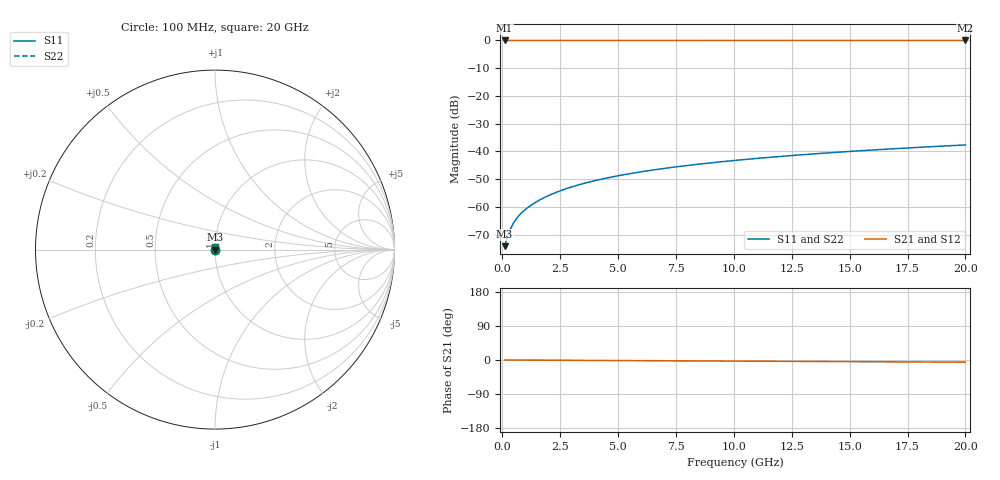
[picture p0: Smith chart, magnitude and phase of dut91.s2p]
! Touchstone file exported from HFSS 2026.1.0
!  File:  C:/ffzhzh/LocalFiles/Ansys_Project_Files/temp_train_TSV_91_1782959697_45748.aedt
!  Generated:  10:36:35 AM Jul  2, 2026
!  Design:  TSV
!  Project:  temp_train_TSV_91_1782959697_45748
! Variables:
!  h_bsmrdl = 2um
!  h_ox = 20um
!  h_rdl = 5um
!  h_sub = 55.9um
!  h_tmrdl = 5um
!  h_tsv = 55.9um
!  h_via = 3um
!  l_bsmrdl = 300um
!  l_sub = 414.04um
!  l_tmrdl = 200um
!  m_sub = 200um
!  pitch = 32.89um
!  r_tsv = 7.02um
!  s_tmrdl = 10um
!  w_bsmrdl = 18um
!  w_sub = 500um
!  w_tmrdl = 12um
!  x_tsv_center1 = 206um
!  x_tsv_center2 = 524um
!  x_tsv_center3 = 736um
!  x_tsv_center4 = 1054um
!  x_tsv_center5 = 1266um
!  x_tsv_center6 = 1584um
# GHz S MA R 50.000000
! Terminal data exported
! Port[1] = TSV1_1_T1
! Port[2] = TSV1_1_T2
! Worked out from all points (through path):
!   200 points, 100 MHz to 20 GHz, reference 50 ohm
!   highest |S21| = 0.00 dB at 100 MHz (marker M1); lowest = 0.0 dB at 20 GHz (marker M2)
!   lowest |S11| = -74.1 dB at 100 MHz (marker M3), VSWR 1.00, Z = 50 + j0.0102 ohm
!   |S11| at or under -10 dB: start of sweep to end of sweep
!   |S22| runs from -74.1 to -37.6 dB; largest |S21 - S12| = 3e-15
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0.1  0.0001971 31.3  0.9998 -0.0  0.9998 -0.0  0.0001971 31.3
! Gamma 0 0 0 0
! Port Impedance 50 0 50 0
0.2  0.00027 48.4  0.9998 -0.1  0.9998 -0.1  0.00027 48.4
0.3  0.0003553 56.7  0.9998 -0.1  0.9998 -0.1  0.0003553 56.7
0.4  0.0004419 61.1  0.9998 -0.1  0.9998 -0.1  0.0004419 61.1
0.5  0.0005261 63.7  0.9998 -0.2  0.9998 -0.2  0.0005261 63.7
0.6  0.000607 65.4  0.9997 -0.2  0.9997 -0.2  0.000607 65.4
0.7  0.000685 66.7  0.9997 -0.2  0.9997 -0.2  0.000685 66.7
0.8  0.0007605 67.7  0.9997 -0.2  0.9997 -0.2  0.0007605 67.7
1  0.0009065 69.5  0.9997 -0.3  0.9997 -0.3  0.0009065 69.5
1.4  0.001189 72.1  0.9996 -0.4  0.9996 -0.4  0.001189 72.1
1.7  0.001399 73.6  0.9996 -0.5  0.9996 -0.5  0.001399 73.6
2  0.001609 74.8  0.9996 -0.6  0.9996 -0.6  0.001609 74.8
2.7  0.002096 76.5  0.9995 -0.8  0.9995 -0.8  0.002096 76.5
3.5  0.002647 77.7  0.9995 -1.0  0.9995 -1.0  0.002647 77.7
4.2  0.003122 78.3  0.9994 -1.2  0.9994 -1.2  0.003122 78.3
5  0.003656 78.7  0.9994 -1.5  0.9994 -1.5  0.003656 78.7
6.8  0.004832 79.3  0.9993 -2.0  0.9993 -2.0  0.004832 79.3
8.3  0.005795 79.5  0.9992 -2.4  0.9992 -2.4  0.005795 79.5
10.1  0.006941 79.7  0.9991 -2.9  0.9991 -2.9  0.006941 79.7
13.4  0.009025 79.6  0.9989 -3.9  0.9989 -3.9  0.009025 79.6
16.7  0.01109 79.3  0.9988 -4.8  0.9988 -4.8  0.01109 79.3
20  0.01312 78.7  0.9986 -5.8  0.9986 -5.8  0.01312 78.7
